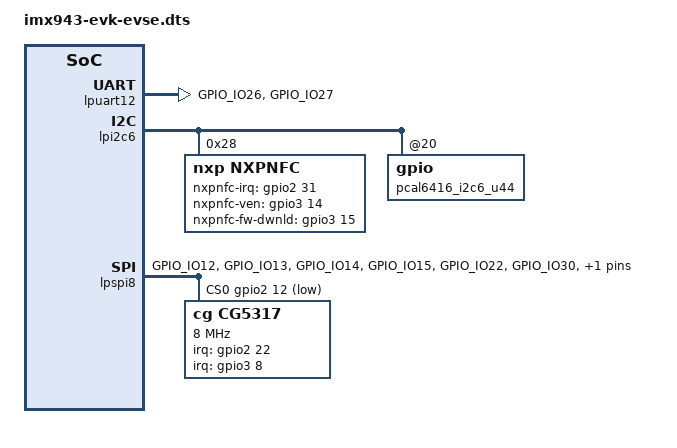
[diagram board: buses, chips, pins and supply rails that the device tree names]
// SPDX-License-Identifier: (GPL-2.0+ OR MIT)
/*
 * Copyright 2025 NXP
 */

#include "imx943-evk.dts"

&lpuart12 {
	/* sigbrd */
	pinctrl-names = "default";
	pinctrl-0 = <&pinctrl_uart12>;
	status = "okay";
};

&sai3 {
	/* disabled due to overlap with NFC */
	status = "disabled";
};

&lpi2c6 {
	pca9544_i2c6: i2c-mux@77 {
		i2c@0 {
			reg = <1>;
			#address-cells = <1>;
			#size-cells = <0>;
		
			nxpnfc: nxpnfc@28 {
				compatible = "nxp,nxpnfc";
				reg = <0x28>;
				nxp,nxpnfc-irq = <&gpio2 31 GPIO_ACTIVE_HIGH>;
				nxp,nxpnfc-ven = <&gpio3 14 GPIO_ACTIVE_HIGH>;
				nxp,nxpnfc-fw-dwnld = <&gpio3 15 GPIO_ACTIVE_HIGH>;
			};
		};

		i2c@3 {
			pcal6416_i2c6_u44: gpio@20 {
				spi8-sel1-hog {
					gpio-hog;
					gpios = <5 GPIO_ACTIVE_HIGH>;
					output-high;
				};

				spi8-sel3-hog {
					gpio-hog;
					gpios = <6 GPIO_ACTIVE_HIGH>;
					output-high;
				};

				sai3-sel-hog {
					gpio-hog;
					gpios = <11 GPIO_ACTIVE_HIGH>;
					output-low;
				};
			};		
		};
	};
};

&lpspi8 {
	cs-gpios = <&gpio2 12 GPIO_ACTIVE_LOW>;
	num-cs = <2>;
	pinctrl-0 = <&pinctrl_lpspi8>;
	pinctrl-names = "default";
	status = "okay";

	cg5317: ethernet@0 {
		status = "okay";
		compatible = "cg,cg5317";
		reg = <0x0>;
		interrupts-extended = <&gpio2 22 IRQ_TYPE_EDGE_RISING>, <&gpio3 8 IRQ_TYPE_EDGE_RISING>;
		interrupt-names = "gp_irq", "rx_irq";
		spi-cpha; /* SPI mode: CPHA=1 */
		spi-max-frequency = <8000000>; /* freq: 8 MHz */
		iface-name-prefix = "seth";
		iface-idx = <0x0>;
	};
};

&scmi_iomuxc {
	pinctrl_uart12: uart12grp {
		fsl,pins = <
			IMX94_PAD_GPIO_IO26__LPUART12_TX	0x31e
			IMX94_PAD_GPIO_IO27__LPUART12_RX	0x31e
		>;
	};
	
	pinctrl_lpspi8: lpspi8grp {
		fsl,pins = <
			IMX94_PAD_GPIO_IO12__GPIO2_IO12			0x3fe
			IMX94_PAD_GPIO_IO13__LPSPI8_SIN			0x3fe
			IMX94_PAD_GPIO_IO14__LPSPI8_SOUT		0x3fe
			IMX94_PAD_GPIO_IO15__LPSPI8_SCK			0x3fe
			IMX94_PAD_GPIO_IO22__GPIO2_IO22			0x3fe
			IMX94_PAD_GPIO_IO30__GPIO2_IO30			0x3fe
			IMX94_PAD_GPIO_IO40__GPIO3_IO8			0x3fe
		>;
	};

	pinctrl_hog: hoggrp {
		fsl,pins = <
			IMX94_PAD_GPIO_IO46__GPIO3_IO14			0x3fe
			IMX94_PAD_GPIO_IO47__GPIO3_IO15 		0x3fe
			IMX94_PAD_GPIO_IO31__GPIO2_IO31		    0x3fe
		>;
	};

};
